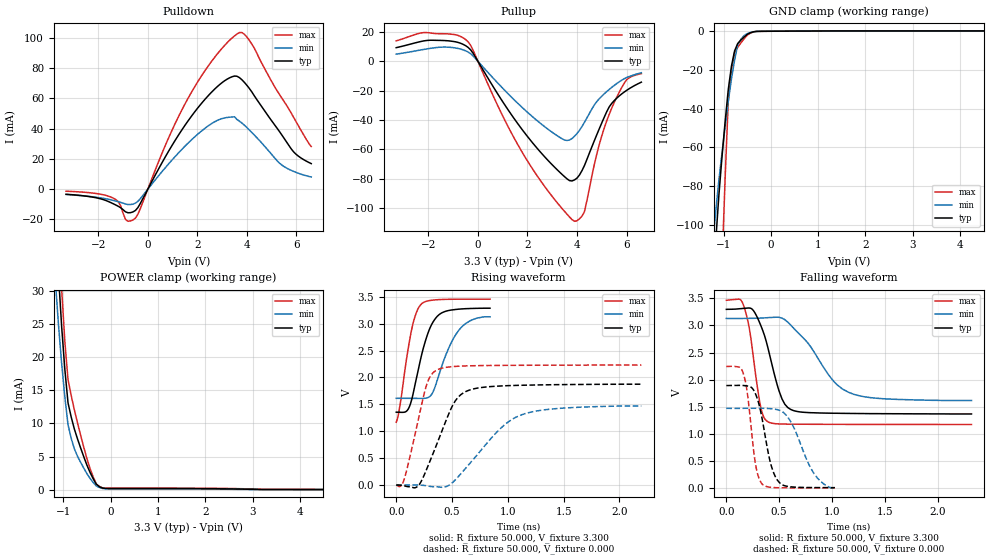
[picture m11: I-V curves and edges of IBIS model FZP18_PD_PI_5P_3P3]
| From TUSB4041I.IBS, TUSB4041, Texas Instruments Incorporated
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|   Model Cell FZP18_PD_PI_5P_3P3
|BC3340DSHYPBFZP18_PD_PI_5P_3P3
[Model]   FZP18_PD_PI_5P_3P3
Model_type   I/O
Polarity   Non-Inverting
Enable   Active-Low
Vinl =  0.8V
Vinh =  2V
Cref =  7pF
Rref =  100.00M
Vref =  0V
Vmeas =  1.65
C_comp   1.726631p   1.655247p   2.290856p
[Model Spec]
Vinl   0.8V   0.8V   0.8V
Vinh   2V   2V   2V
[Temperature Range]   25   125   -40
[Voltage Range]   3.3   3.135   3.465
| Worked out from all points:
|   slope of the pulldown table from 0 to 0.495 V, typ, clamps not added: 32.6 ohm
|   slope of the pullup table from 0 to 0.495 V, typ, clamps not added: 35.4 ohm
|   GND clamp passes 1 mA (typ) near -0.45 V on its own axis
|   POWER clamp passes 1 mA (typ) near -0.32 V on its own axis
|   rising waveform, R_fixture 50.000, V_fixture 3.300: 20-80 % time 143ps typ, 180ps min, 106ps max; typ from 1.35 V to 3.29 V
|   rising waveform, R_fixture 50.000, V_fixture 0.000: 20-80 % time 222ps typ, 391ps min, 148ps max; typ from 0 V to 1.88 V
|   falling waveform, R_fixture 50.000, V_fixture 3.300: 20-80 % time 163ps typ, 344ps min, 101ps max; typ from 3.3 V to 1.36 V
|   falling waveform, R_fixture 50.000, V_fixture 0.000: 20-80 % time 117ps typ, 197ps min, 80ps max; typ from 1.89 V to 0.004 V
[POWER_clamp]
|   voltage   I(typ)   I(min)   I(max)
-3.3V     369.7mA    284.7mA    471.9mA
-1.167V   41.13mA    31.48mA    51.35mA
-1.1V     32.27mA    24.79mA    40.05mA
-1.033V   24.52mA    18.96mA    30.17mA
-966.7mV  18.14mA    13.96mA    22.35mA
-900mV    13.12mA    9.808mA    16.6mA
-766.7mV  9.178mA    6.178mA    12.08mA
-500mV    3.691mA    2.401mA    4.668mA
-300mV    797.8uA    544.5uA    836.8uA
-233.3mV  432.2uA    307uA      465.8uA
-100mV    167.9uA    118.1uA    229.7uA
6.6V      0A         0A         0A
[Pulldown]
|   voltage   I(typ)   I(min)   I(max)
-3.3V     -3.365mA   -3.488mA   -1.337mA
-1.5V     -8.823mA   -6.978mA   -5.127mA
-1.2V     -11.25mA   -8.255mA   -8.14mA
-900mV    -14.96mA   -9.762mA   -19.97mA
-500mV    -14.05mA   -9.217mA   -19.12mA
1.7V      46.86mA    31.63mA    62.28mA
2.9V      69.16mA    46.14mA    91.29mA
3.7V      73.78mA    44.98mA    103.6mA
4.2V      64.34mA    37.49mA    95.96mA
5.4V      36.15mA    16.09mA    60.58mA
5.9V      24.48mA    11.69mA    47.2mA
6.6V      16.92mA    8.046mA    28.22mA
[Pullup]
|   voltage   I(typ)   I(min)   I(max)
-3.3V     9.309mA    4.903mA    13.95mA
-2.1V     14.15mA    8.36mA     19.61mA
-900mV    13.29mA    9.083mA    18.12mA
-400mV    9.542mA    6.366mA    13.33mA
1.8V      -46.88mA   -31.69mA   -62.38mA
3.4V      -77.19mA   -52.87mA   -100.5mA
3.9V      -80.91mA   -51.11mA   -109.2mA
4.3V      -71.16mA   -41.65mA   -102.6mA
4.9V      -46.04mA   -25.54mA   -56.79mA
5.5V      -26.88mA   -16.5mA    -28.23mA
6V        -19.88mA   -11.14mA   -12.69mA
6.6V      -14.22mA   -7.771mA   -8.395mA
[GND_clamp]
|   voltage   I(typ)   I(min)   I(max)
-3.3V     -996.3mA   -831.9mA   -2.048A
-1.233V   -134.2mA   -111.4mA   -283.3mA
-1.167V   -109.2mA   -93.71mA   -227.4mA
-1.1V     -85.33mA   -77.41mA   -172.4mA
-1.033V   -65.26mA   -63.15mA   -121.7mA
-966.7mV  -46.88mA   -49.47mA   -76.32mA
-900mV    -30.19mA   -36.36mA   -36.22mA
-833.3mV  -18.13mA   -24.82mA   -20.41mA
-766.7mV  -10.18mA   -15.02mA   -11.12mA
-700mV    -6.333mA   -6.946mA   -8.325mA
-500mV    -1.622mA   -1.243mA   -2.064mA
6.6V      163.3uA    124.6uA    227.9uA
[Ramp]
| variable   typ   min   max
dV/dt_f   1.180283/0.1658519n  0.9157424/0.3647765n   1.391553/0.1020536n
dV/dt_r   1.164918/0.2296956n  0.9045015/0.4214654n   1.380389/0.1496363n
R_load = 50
[Rising Waveform]
R_fixture = 50.000
V_fixture = 3.300
V_fixture_min = 3.135
V_fixture_max = 3.465
|  time   V(typ)   V(min)   V(max)
0s        1.355V     1.613V     1.168V
36ps      1.353V     1.613V     1.511V
112.5ps   1.432V     1.613V     2.6V
157.5ps   1.756V     1.612V     3.058V
210ps     2.261V     1.611V     3.328V
304.5ps   2.93V      1.653V     3.432V
381ps     3.163V     2.036V     3.448V
469.5ps   3.245V     2.542V     3.454V
568.5ps   3.272V     2.897V     3.456V
840ps     3.288V     3.129V     3.457V
[Rising Waveform]
R_fixture = 50.000
V_fixture = 0.000
V_fixture_min = 0.000
V_fixture_max = 0.000
|  time   V(typ)   V(min)   V(max)
0s        224.4uV    -20.69uV   -747.6uV
64.5ps    -10.71mV   -9.329uV   65.17mV
202.5ps   -1.761mV   -771.7uV   1.259V
280.5ps   334mV      -16.22mV   1.912V
367.5ps   781.8mV    -32.24mV   2.143V
528ps     1.562V     93.72mV    2.206V
679.5ps   1.781V     450.2mV    2.218V
958.5ps   1.845V     1.098V     2.225V
1.158ns   1.857V     1.331V     2.227V
2.196ns   1.875V     1.469V     2.231V
[Falling Waveform]
R_fixture = 50.000
V_fixture = 3.300
V_fixture_min = 3.135
V_fixture_max = 3.465
|  time   V(typ)   V(min)   V(max)
0s        3.297V     3.129V     3.465V
166.5ps   3.315V     3.13V      3.352V
217.5ps   3.322V     3.131V     2.949V
327ps     2.996V     3.136V     1.48V
403.5ps   2.508V     3.145V     1.211V
526.5ps   1.645V     3.136V     1.179V
636ps     1.427V     2.952V     1.176V
1.02ns    1.378V     1.961V     1.173V
1.154ns   1.375V     1.768V     1.172V
2.321ns   1.365V     1.613V     1.17V
[Falling Waveform]
R_fixture = 50.000
V_fixture = 0.000
V_fixture_min = 0.000
V_fixture_max = 0.000
|  time   V(typ)   V(min)   V(max)
0s        1.889V     1.469V     2.242V
157.5ps   1.891V     1.469V     2.132V
204ps     1.88V      1.47V      1.676V
279ps     1.723V     1.47V      405.8mV
339ps     1.275V     1.47V      69.78mV
423ps     423.2mV    1.462V     9.454mV
502.5ps   97.06mV    1.434V     1.732mV
622.5ps   17.1mV     1.178V     254.5uV
840ps     5.328mV    237.1mV    98.49uV
1.028ns   3.903mV    -20.69uV   80.3uV
